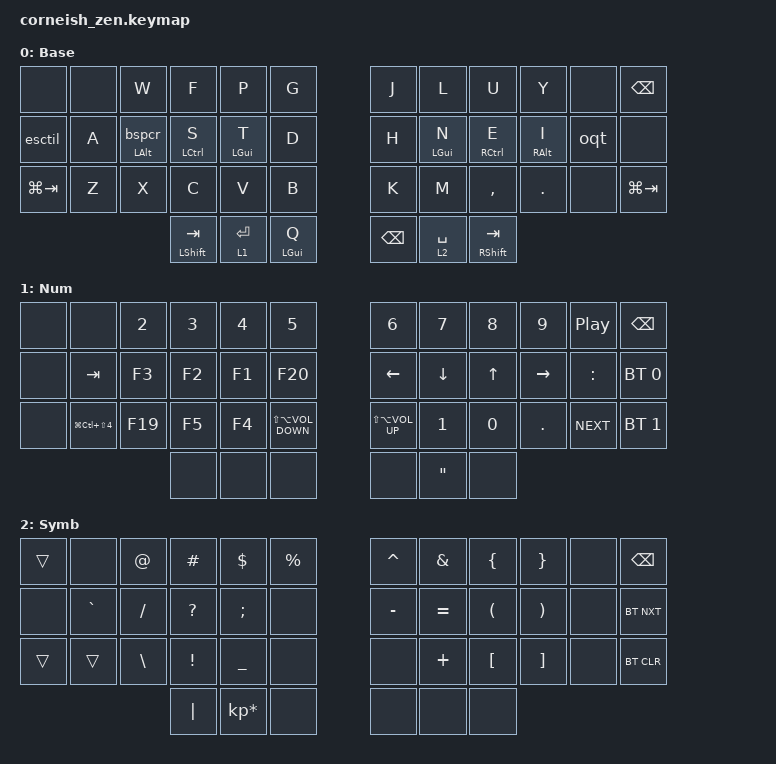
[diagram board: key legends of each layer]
#include <behaviors.dtsi>
#include <dt-bindings/zmk/keys.h>
#include <dt-bindings/zmk/bt.h>

/ {
  chosen {
        zmk,matrix_transform = &default_transform;
  };
};
/ {
  behaviors {
    hm: homerow_mods {
      compatible = "zmk,behavior-hold-tap";
      #binding-cells = <2>;
      tapping-term-ms = <190>;
      quick-tap-ms = <0>;
      flavor = "tap-preferred";
      bindings = <&kp>, <&kp>;
    };
    esctil: escape_tilde {
      compatible = "zmk,behavior-mod-morph";
      #binding-cells = <0>;
      bindings = <&kp ESC>, <&kp TILDE>;
      mods = <(MOD_LGUI)>;
    };
    oqt: o_quote {
      compatible = "zmk,behavior-mod-morph";
      #binding-cells = <0>;
      bindings = <&kp O>, <&kp SQT>;
      mods = <(MOD_LGUI)>;
    };
    bspcr: bspc_r {
      compatible = "zmk,behavior-mod-morph";
      #binding-cells = <0>;
      bindings = <&kp R>, <&kp BSPC>;
      mods = <(MOD_LGUI)>;
    };
    ht_r_alt: hold_tap_r_alt {
      compatible = "zmk,behavior-hold-tap";
      #binding-cells = <2>;
      tapping-term-ms = <200>;
      quick-tap-ms = <0>;
      flavor = "tap-preferred";
      bindings = <&kp>, <&bspcr>;
    };
    // currently unused
    tdpz: tap_dance_punctuation_zed {
      compatible = "zmk,behavior-tap-dance";
      #binding-cells = <0>;
      tapping-term-ms = <240>;
      bindings = <&kp COMMA>, <&kp Z>;
    };
  };
  keymap {
    compatible = "zmk,keymap";

    // `P` can make for a good `mod-morph` key
    default_layer {
      label = "Base";
      bindings = <
        &none    &none   &kp W              &kp F         &kp P        &kp G      &kp J         &kp L            &kp U         &kp Y        &none  &kp BSPC
        &esctil     &kp A   &ht_r_alt LALT 0 &hm LCTRL S   &hm LGUI T   &kp D      &kp H         &hm LGUI N       &hm RCTRL E   &hm RALT I   &oqt  &none
        &kp LG(TAB) &kp Z   &kp X           &kp C         &kp V        &kp B      &kp K         &kp M            &kp COMMA     &kp DOT      &none  &kp LG(TAB)
                              &mt LSHFT TAB   &lt 1 ENTER   &hm LGUI Q   &kp BSPC   &lt 2 SPACE   &mt RSHFT TAB                                      
      >;
    };
    num_layer {
      label = "Num";
      bindings = <
        &none   &none                      &kp N2   &kp N3   &kp N4   &kp N5                      &kp N6                    &kp N7      &kp N8   &kp N9      &kp C_PLAY_PAUSE   &kp BSPC
        &none   &kp TAB                    &kp F3   &kp F2   &kp F1   &kp F20                     &kp LEFT                  &kp DOWN    &kp UP   &kp RIGHT   &kp COLON          &bt BT_SEL 0
        &none   &kp LG(LC(LS(NUMBER_4)))   &kp F19  &kp F5   &kp F4   &kp LS(LA(C_VOLUME_DOWN))   &kp LS(LA(C_VOLUME_UP))   &kp N1      &kp N0   &kp DOT     &kp C_NEXT         &bt BT_SEL 1
                                           &none    &none    &none                                &none  &kp DQT  &none
      >;
    };
    symb_layer {
      label = "Symb";
      bindings = <
        &trans   &none       &kp AT     &kp HASH          &kp DLLR    &kp PRCNT   &kp CARET   &kp AMPS    &kp LBRC   &kp RBRC   &none   &kp BSPC
        &none    &kp GRAVE   &kp FSLH   &kp QMARK         &kp SEMI    &none       &kp MINUS   &kp EQUAL   &kp LPAR   &kp RPAR   &none   &bt BT_NXT
        &trans   &trans      &kp BSLH   &kp EXCL          &kp UNDER   &none       &none       &kp PLUS    &kp LBKT   &kp RBKT   &none   &bt BT_CLR
                             &kp PIPE   &kp KP_MULTIPLY   &none       &none       &none       &none                                     
      >;
    };
  };
};
